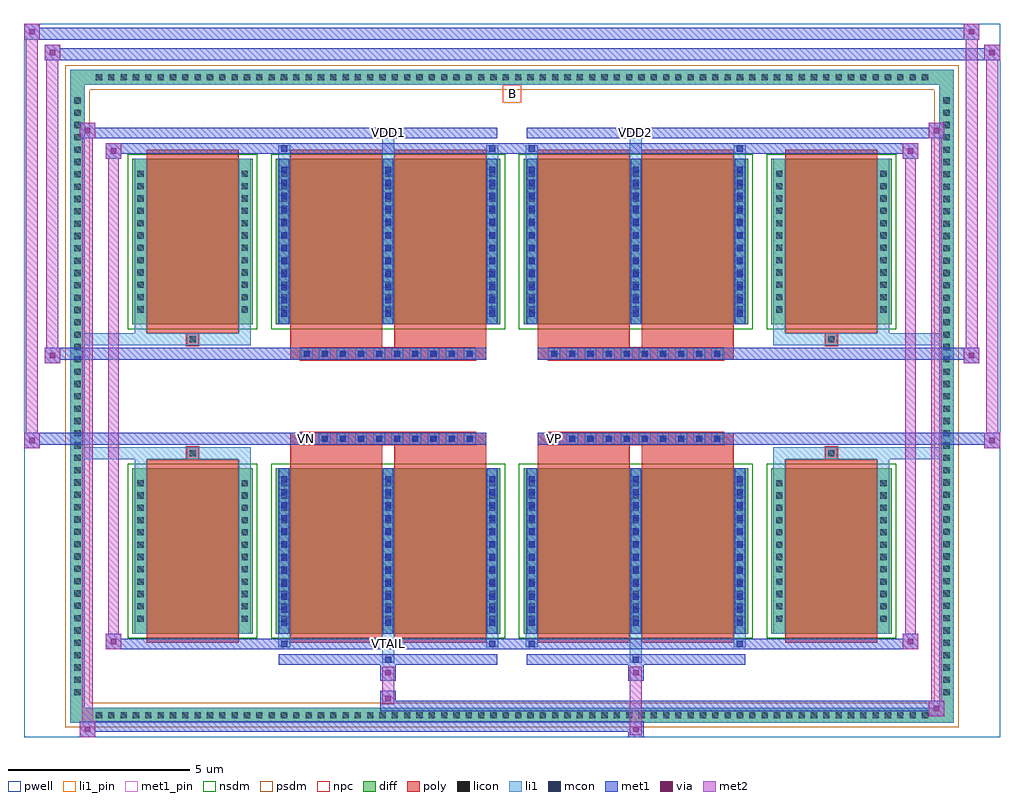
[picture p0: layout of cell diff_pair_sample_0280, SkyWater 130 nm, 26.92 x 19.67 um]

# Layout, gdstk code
import gdstk
lib = gdstk.Library(unit=1e-6, precision=5e-09)
def R(c, l, rs):  # rectangles x0, y0, x1, y1
    for r in rs: c.add(gdstk.rectangle(r[:2], r[2:], *l))
def A(c, l, x, y, w, h, nx, ny, dx, dy):  # array of equal rectangles
    R(c, l, [(x+i*dx, y+j*dy, x+i*dx+w, y+j*dy+h) for i in range(nx) for j in range(ny)])
def P(c, l, *ps):  # polygons
    for p in ps: c.add(gdstk.Polygon(p, *l))
pwell = (64, 44)
diff = (65, 20)
poly = (66, 20)
licon = (66, 44)
li1_pin = (67, 16)
li1 = (67, 20)
mcon = (67, 44)
met1_pin = (68, 16)
met1 = (68, 20)
via = (68, 44)
met2 = (69, 20)
nsdm = (93, 44)
psdm = (94, 20)
npc = (95, 20)

diff_pair_sample_0280 = lib.new_cell('diff_pair_sample_0280')
R(diff_pair_sample_0280, pwell, [(-13.46,-9.4,13.46,10.27), (-10.78,-7.59,-0.01,-0.805), (0.01,-7.59,10.78,-0.805), (-10.78,0.805,-0.01,7.59), (0.01,0.805,10.78,7.59)])
A(diff_pair_sample_0280, diff, -11.595, -9, 0.41, 0.41, 68, 2, 0.34, 17.59)
A(diff_pair_sample_0280, diff, -12.19, -8.365, 0.41, 0.41, 1, 49, 0, 0.34)
A(diff_pair_sample_0280, diff, 11.78, -8.365, 0.41, 0.41, 1, 49, 0, 0.34)
R(diff_pair_sample_0280, diff, [(-11.595,-9,11.595,-8.59), (-12.19,-8.365,-11.78,8.365), (11.78,-8.365,12.19,8.365), (-10.47,-6.545,-7.15,-1.985), (-6.51,-6.545,-0.32,-1.985), (0.32,-6.545,6.51,-1.985), (7.15,-6.545,10.47,-1.985), (-10.47,1.985,-7.15,6.545), (-6.51,1.985,-0.32,6.545), (0.32,1.985,6.51,6.545), (7.15,1.985,10.47,6.545), (-11.595,8.59,11.595,9)])
P(diff_pair_sample_0280, diff, [(12.19,9),(-12.19,9),(-12.19,-8.59),(-11.78,-8.59),(-11.78,8.59),(11.78,8.59),(11.78,-8.59),(-11.78,-8.59),(-12.19,-8.59),(-12.19,-9),(12.19,-9)])
A(diff_pair_sample_0280, poly, -5.83, -1.335, 0.33, 0.33, 10, 2, 0.5, 2.34)
A(diff_pair_sample_0280, poly, 1, -1.335, 0.33, 0.33, 10, 2, 0.5, 2.34)
R(diff_pair_sample_0280, poly, [(-10.08,-6.795,-7.54,-1.735), (-6.12,-6.795,-3.58,-1.735), (-3.25,-6.795,-0.71,-1.735), (0.71,-6.795,3.25,-1.735), (3.58,-6.795,6.12,-1.735), (7.54,-6.795,10.08,-1.735), (-8.975,-1.735,-8.645,-1.405), (-8.975,-1.735,-8.645,-1.405), (-6.12,-1.735,-3.58,-1.335), (-3.25,-1.735,-0.71,-1.335), (0.71,-1.735,3.25,-1.335), (3.58,-1.735,6.12,-1.335), (8.645,-1.735,8.975,-1.405), (8.645,-1.735,8.975,-1.405), (-6.12,-1.335,-0.71,-1.005), (0.71,-1.335,6.12,-1.005), (-6.12,1.005,-0.71,1.335), (0.71,1.005,6.12,1.335), (-6.12,1.335,-3.58,1.735), (-3.25,1.335,-0.71,1.735), (0.71,1.335,3.25,1.735), (3.58,1.335,6.12,1.735), (-8.975,1.405,-8.645,1.735), (-8.975,1.405,-8.645,1.735), (8.645,1.405,8.975,1.735), (8.645,1.405,8.975,1.735), (-10.08,1.735,-7.54,6.795), (-6.12,1.735,-3.58,6.795), (-3.25,1.735,-0.71,6.795), (0.71,1.735,3.25,6.795), (3.58,1.735,6.12,6.795), (7.54,1.735,10.08,6.795)])
A(diff_pair_sample_0280, licon, -11.475, -8.88, 0.17, 0.17, 68, 2, 0.34, 17.59)
A(diff_pair_sample_0280, licon, -12.07, -8.245, 0.17, 0.17, 1, 49, 0, 0.34)
A(diff_pair_sample_0280, licon, 11.9, -8.245, 0.17, 0.17, 1, 49, 0, 0.34)
A(diff_pair_sample_0280, licon, -10.33, -6.22, 0.17, 0.17, 1, 12, 0, 0.34)
A(diff_pair_sample_0280, licon, -7.46, -6.22, 0.17, 0.17, 1, 12, 0, 0.34)
A(diff_pair_sample_0280, licon, -6.37, -6.22, 0.17, 0.17, 3, 12, 2.87, 0.34)
A(diff_pair_sample_0280, licon, 0.46, -6.22, 0.17, 0.17, 3, 12, 2.87, 0.34)
A(diff_pair_sample_0280, licon, 7.29, -6.22, 0.17, 0.17, 1, 12, 0, 0.34)
A(diff_pair_sample_0280, licon, 10.16, -6.22, 0.17, 0.17, 1, 12, 0, 0.34)
A(diff_pair_sample_0280, licon, -5.75, -1.255, 0.17, 0.17, 10, 2, 0.5, 2.34)
A(diff_pair_sample_0280, licon, 1.08, -1.255, 0.17, 0.17, 10, 2, 0.5, 2.34)
A(diff_pair_sample_0280, licon, -10.33, 2.31, 0.17, 0.17, 1, 12, 0, 0.34)
A(diff_pair_sample_0280, licon, -7.46, 2.31, 0.17, 0.17, 1, 12, 0, 0.34)
A(diff_pair_sample_0280, licon, -6.37, 2.31, 0.17, 0.17, 3, 12, 2.87, 0.34)
A(diff_pair_sample_0280, licon, 0.46, 2.31, 0.17, 0.17, 3, 12, 2.87, 0.34)
A(diff_pair_sample_0280, licon, 7.29, 2.31, 0.17, 0.17, 1, 12, 0, 0.34)
A(diff_pair_sample_0280, licon, 10.16, 2.31, 0.17, 0.17, 1, 12, 0, 0.34)
R(diff_pair_sample_0280, licon, [(-8.895,-1.655,-8.725,-1.485), (8.725,-1.655,8.895,-1.485), (-8.895,1.485,-8.725,1.655), (8.725,1.485,8.895,1.655)])
R(diff_pair_sample_0280, li1_pin, [(-0.25,8.09,0.25,8.59)])
A(diff_pair_sample_0280, li1, -11.555, -8.96, 0.33, 0.33, 68, 2, 0.34, 17.59)
A(diff_pair_sample_0280, li1, -12.15, -8.325, 0.33, 0.33, 1, 49, 0, 0.34)
A(diff_pair_sample_0280, li1, 11.82, -8.325, 0.33, 0.33, 1, 49, 0, 0.34)
A(diff_pair_sample_0280, li1, -6.45, -6.545, 0.33, 4.56, 3, 2, 2.87, 8.53)
A(diff_pair_sample_0280, li1, 0.38, -6.545, 0.33, 4.56, 3, 2, 2.87, 8.53)
A(diff_pair_sample_0280, li1, -6.37, -6.33, 0.17, 0.17, 3, 12, 2.87, 0.36)
A(diff_pair_sample_0280, li1, -6.37, -6.33, 0.17, 4.13, 3, 2, 2.87, 8.53)
A(diff_pair_sample_0280, li1, 0.46, -6.33, 0.17, 0.17, 3, 12, 2.87, 0.36)
A(diff_pair_sample_0280, li1, 0.46, -6.33, 0.17, 4.13, 3, 2, 2.87, 8.53)
A(diff_pair_sample_0280, li1, -10.41, -6.3, 0.33, 0.33, 1, 12, 0, 0.34)
A(diff_pair_sample_0280, li1, -7.54, -6.3, 0.33, 0.33, 1, 12, 0, 0.34)
A(diff_pair_sample_0280, li1, -6.45, -6.3, 0.33, 0.33, 3, 12, 2.87, 0.34)
A(diff_pair_sample_0280, li1, 0.38, -6.3, 0.33, 0.33, 3, 12, 2.87, 0.34)
A(diff_pair_sample_0280, li1, 7.21, -6.3, 0.33, 0.33, 1, 12, 0, 0.34)
A(diff_pair_sample_0280, li1, 10.08, -6.3, 0.33, 0.33, 1, 12, 0, 0.34)
A(diff_pair_sample_0280, li1, -5.83, -1.335, 0.33, 0.33, 10, 2, 0.5, 2.34)
A(diff_pair_sample_0280, li1, 1, -1.335, 0.33, 0.33, 10, 2, 0.5, 2.34)
A(diff_pair_sample_0280, li1, -6.37, 2.2, 0.17, 0.17, 3, 12, 2.87, 0.36)
A(diff_pair_sample_0280, li1, 0.46, 2.2, 0.17, 0.17, 3, 12, 2.87, 0.36)
A(diff_pair_sample_0280, li1, -10.41, 2.23, 0.33, 0.33, 1, 12, 0, 0.34)
A(diff_pair_sample_0280, li1, -7.54, 2.23, 0.33, 0.33, 1, 12, 0, 0.34)
A(diff_pair_sample_0280, li1, -6.45, 2.23, 0.33, 0.33, 3, 12, 2.87, 0.34)
A(diff_pair_sample_0280, li1, 0.38, 2.23, 0.33, 0.33, 3, 12, 2.87, 0.34)
A(diff_pair_sample_0280, li1, 7.21, 2.23, 0.33, 0.33, 1, 12, 0, 0.34)
A(diff_pair_sample_0280, li1, 10.08, 2.23, 0.33, 0.33, 1, 12, 0, 0.34)
R(diff_pair_sample_0280, li1, [(-12.19,-9,-11.78,-8.59), (-12.19,-9,-11.78,-8.59), (-11.78,-9,11.78,-8.59), (11.78,-9,12.19,-8.59), (11.78,-9,12.19,-8.59), (-12.19,-8.59,-11.78,8.59), (11.78,-8.59,12.19,8.59), (-3.58,-7.35,-3.25,-6.545), (-3.5,-7.35,-3.33,-7.18), (3.25,-7.35,3.58,-6.545), (3.33,-7.35,3.5,-7.18), (-6.45,-6.92,-6.12,-6.545), (-6.37,-6.92,-6.2,-6.75), (-0.71,-6.92,-0.38,-6.545), (-0.63,-6.92,-0.46,-6.75), (0.38,-6.92,0.71,-6.545), (0.46,-6.92,0.63,-6.75), (6.12,-6.92,6.45,-6.545), (6.2,-6.92,6.37,-6.75), (-10.41,-6.545,-10.08,-1.985), (-7.54,-6.545,-7.21,-1.985), (7.21,-6.545,7.54,-1.985), (10.08,-6.545,10.41,-1.985), (-10.41,-1.985,-10.08,-1.405), (-7.54,-1.985,-7.21,-1.405), (7.21,-1.985,7.54,-1.405), (10.08,-1.985,10.41,-1.405), (-12.19,-1.735,-8.975,-1.405), (-10.41,-1.735,-8.975,-1.405), (-8.975,-1.735,-8.645,-1.405), (-8.645,-1.735,-7.21,-1.405), (7.21,-1.735,8.645,-1.405), (8.645,-1.735,8.975,-1.405), (8.645,-1.735,12.19,-1.405), (8.975,-1.735,10.41,-1.405), (-12.19,1.405,-8.975,1.735), (-10.41,1.405,-8.975,1.735), (-10.41,1.405,-10.08,1.985), (-8.975,1.405,-8.645,1.735), (-8.645,1.405,-7.21,1.735), (-7.54,1.405,-7.21,1.985), (7.21,1.405,8.645,1.735), (7.21,1.405,7.54,1.985), (8.645,1.405,8.975,1.735), (8.645,1.405,12.19,1.735), (8.975,1.405,10.41,1.735), (10.08,1.405,10.41,1.985), (-10.41,1.985,-10.08,6.545), (-7.54,1.985,-7.21,6.545), (7.21,1.985,7.54,6.545), (10.08,1.985,10.41,6.545), (-6.45,6.545,-6.12,6.92), (-3.58,6.545,-3.25,7.35), (-0.71,6.545,-0.38,6.92), (0.38,6.545,0.71,6.92), (3.25,6.545,3.58,7.35), (6.12,6.545,6.45,6.92), (-6.37,6.75,-6.2,6.92), (-0.63,6.75,-0.46,6.92), (0.46,6.75,0.63,6.92), (6.2,6.75,6.37,6.92), (-3.5,7.18,-3.33,7.35), (3.33,7.18,3.5,7.35), (-12.19,8.59,-11.78,9), (-12.19,8.59,-11.78,9), (-11.78,8.59,11.78,9), (11.78,8.59,12.19,9), (11.78,8.59,12.19,9)])
A(diff_pair_sample_0280, mcon, -6.37, -6.33, 0.17, 0.17, 3, 12, 2.87, 0.36)
A(diff_pair_sample_0280, mcon, 0.46, -6.33, 0.17, 0.17, 3, 12, 2.87, 0.36)
A(diff_pair_sample_0280, mcon, -5.75, -1.255, 0.17, 0.17, 10, 2, 0.5, 2.34)
A(diff_pair_sample_0280, mcon, 1.08, -1.255, 0.17, 0.17, 10, 2, 0.5, 2.34)
A(diff_pair_sample_0280, mcon, -6.37, 2.2, 0.17, 0.17, 3, 12, 2.87, 0.36)
A(diff_pair_sample_0280, mcon, 0.46, 2.2, 0.17, 0.17, 3, 12, 2.87, 0.36)
R(diff_pair_sample_0280, mcon, [(-3.5,-7.35,-3.33,-7.18), (3.33,-7.35,3.5,-7.18), (-6.37,-6.92,-6.2,-6.75), (-0.63,-6.92,-0.46,-6.75), (0.46,-6.92,0.63,-6.75), (6.2,-6.92,6.37,-6.75), (-6.37,6.75,-6.2,6.92), (-0.63,6.75,-0.46,6.92), (0.46,6.75,0.63,6.92), (6.2,6.75,6.37,6.92), (-3.5,7.18,-3.33,7.35), (3.33,7.18,3.5,7.35)])
R(diff_pair_sample_0280, met1_pin, [(-3.55,-6.96,-3.28,-6.69), (-5.8,-1.295,-5.53,-1.025), (1.03,-1.295,1.3,-1.025), (-3.55,7.14,-3.28,7.41), (3.28,7.14,3.55,7.41)])
A(diff_pair_sample_0280, met1, -6.43, -6.545, 0.29, 4.56, 3, 2, 2.87, 8.53)
A(diff_pair_sample_0280, met1, 0.4, -6.545, 0.29, 4.56, 3, 2, 2.87, 8.53)
A(diff_pair_sample_0280, met1, -6.43, -6.39, 0.29, 0.29, 3, 12, 2.87, 0.36)
A(diff_pair_sample_0280, met1, 0.4, -6.39, 0.29, 0.29, 3, 12, 2.87, 0.36)
A(diff_pair_sample_0280, met1, -5.81, -1.315, 0.29, 0.29, 10, 2, 0.5, 2.34)
A(diff_pair_sample_0280, met1, 1.02, -1.315, 0.29, 0.29, 10, 2, 0.5, 2.34)
A(diff_pair_sample_0280, met1, -6.43, 2.14, 0.29, 0.29, 3, 12, 2.87, 0.36)
A(diff_pair_sample_0280, met1, 0.4, 2.14, 0.29, 0.29, 3, 12, 2.87, 0.36)
R(diff_pair_sample_0280, met1, [(-11.92,-9.4,-11.49,-8.97), (3.2,-9.4,3.63,-8.97), (-11.92,-9.26,3.63,-8.97), (11.49,-8.83,11.92,-8.4), (-3.63,-8.69,11.92,-8.4), (-3.63,-8.55,-3.2,-8.12), (-3.63,-7.84,-3.2,-7.41), (3.2,-7.84,3.63,-7.41), (-6.43,-7.41,-0.4,-7.12), (-3.56,-7.41,-3.27,-7.12), (0.4,-7.41,6.43,-7.12), (3.27,-7.41,3.56,-7.12), (-11.21,-6.98,-10.78,-6.55), (-11.21,-6.98,-6.43,-6.69), (-6.43,-6.98,-6.14,-6.69), (-6.43,-6.98,-0.4,-6.69), (-0.69,-6.98,-0.4,-6.69), (-0.4,-6.98,0.4,-6.69), (0.4,-6.98,0.69,-6.69), (0.4,-6.98,6.43,-6.69), (6.14,-6.98,6.43,-6.69), (6.43,-6.98,11.21,-6.69), (10.78,-6.98,11.21,-6.55), (-13.46,-1.435,-13.03,-1.005), (13.03,-1.435,13.46,-1.005), (-13.46,-1.335,-0.71,-1.005), (-6.12,-1.335,-0.71,-1.005), (0.71,-1.335,6.12,-1.005), (0.71,-1.335,13.46,-1.005), (-12.89,0.905,-12.46,1.335), (12.46,0.905,12.89,1.335), (-12.89,1.005,-6.12,1.335), (-6.12,1.005,-0.71,1.335), (0.71,1.005,6.12,1.335), (6.12,1.005,12.89,1.335), (-11.21,6.55,-10.78,6.98), (10.78,6.55,11.21,6.98), (-11.21,6.69,-6.43,6.98), (-6.43,6.69,-6.14,6.98), (-6.43,6.69,-0.4,6.98), (-0.69,6.69,-0.4,6.98), (-0.4,6.69,0.4,6.98), (0.4,6.69,0.69,6.98), (0.4,6.69,6.43,6.98), (6.14,6.69,6.43,6.98), (6.43,6.69,11.21,6.98), (-11.92,7.12,-11.49,7.55), (-11.92,7.12,-6.43,7.41), (-6.43,7.12,-0.4,7.41), (-3.56,7.12,-3.27,7.41), (0.4,7.12,6.43,7.41), (3.27,7.12,3.56,7.41), (6.43,7.12,11.92,7.41), (11.49,7.12,11.92,7.55), (-12.89,9.27,-12.46,9.7), (-12.89,9.27,-10.78,9.6), (-10.78,9.27,10.78,9.6), (10.78,9.27,13.46,9.6), (13.03,9.27,13.46,9.7), (-13.46,9.84,-13.03,10.27), (-13.46,9.84,-10.78,10.17), (-10.78,9.84,10.78,10.17), (10.78,9.84,12.89,10.17), (12.46,9.84,12.89,10.27)])
R(diff_pair_sample_0280, via, [(-11.78,-9.26,-11.63,-9.11), (3.34,-9.26,3.49,-9.11), (11.63,-8.69,11.78,-8.54), (-3.49,-8.41,-3.34,-8.26), (-3.49,-7.7,-3.34,-7.55), (3.34,-7.7,3.49,-7.55), (-11.07,-6.84,-10.92,-6.69), (10.92,-6.84,11.07,-6.69), (-13.32,-1.295,-13.17,-1.145), (13.17,-1.295,13.32,-1.145), (-12.75,1.045,-12.6,1.195), (12.6,1.045,12.75,1.195), (-11.07,6.69,-10.92,6.84), (10.92,6.69,11.07,6.84), (-11.78,7.26,-11.63,7.41), (11.63,7.26,11.78,7.41), (-12.75,9.41,-12.6,9.56), (13.17,9.41,13.32,9.56), (-13.32,9.98,-13.17,10.13), (12.6,9.98,12.75,10.13)])
R(diff_pair_sample_0280, met2, [(-11.92,-9.4,-11.49,-8.97), (-11.85,-9.4,-11.56,7.55), (-11.56,-9.4,-11.49,-8.97), (-11.87,-9.35,-11.54,-9.02), (3.25,-9.35,3.58,-9.02), (3.25,-9.02,3.58,-7.79), (11.49,-8.83,11.92,-8.4), (11.56,-8.83,11.85,7.55), (11.85,-8.83,11.92,-8.4), (11.54,-8.78,11.87,-8.45), (-3.58,-8.5,-3.25,-8.17), (-3.58,-8.17,-3.25,-7.79), (-3.58,-7.79,-3.25,-7.46), (3.25,-7.79,3.58,-7.46), (-11.21,-6.98,-10.78,-6.55), (-11.14,-6.98,-10.85,6.98), (-10.85,-6.98,-10.78,-6.55), (10.78,-6.98,11.21,-6.55), (10.85,-6.98,11.14,6.98), (11.14,-6.98,11.21,-6.55), (-11.16,-6.93,-10.83,-6.6), (10.83,-6.93,11.16,-6.6), (-13.46,-1.435,-13.03,-1.005), (-13.41,-1.435,-13.08,10.27), (-13.08,-1.435,-13.03,-1.005), (13.03,-1.435,13.46,-1.005), (13.08,-1.435,13.41,9.7), (13.41,-1.435,13.46,-1.005), (-13.41,-1.385,-13.08,-1.055), (13.08,-1.385,13.41,-1.055), (-12.89,0.905,-12.46,1.335), (-12.84,0.905,-12.51,9.7), (-12.51,0.905,-12.46,1.335), (12.46,0.905,12.89,1.335), (12.51,0.905,12.84,10.27), (12.84,0.905,12.89,1.335), (-12.84,0.955,-12.51,1.285), (12.51,0.955,12.84,1.285), (-11.21,6.55,-10.78,6.98), (-10.85,6.55,-10.78,6.98), (10.78,6.55,11.21,6.98), (11.14,6.55,11.21,6.98), (-11.16,6.6,-10.83,6.93), (10.83,6.6,11.16,6.93), (-11.92,7.12,-11.49,7.55), (-11.56,7.12,-11.49,7.55), (11.49,7.12,11.92,7.55), (11.85,7.12,11.92,7.55), (-11.87,7.17,-11.54,7.5), (11.54,7.17,11.87,7.5), (-12.89,9.27,-12.46,9.7), (-12.51,9.27,-12.46,9.7), (13.03,9.27,13.46,9.7), (13.41,9.27,13.46,9.7), (-12.84,9.32,-12.51,9.65), (13.08,9.32,13.41,9.65), (-13.46,9.84,-13.03,10.27), (-13.08,9.84,-13.03,10.27), (12.46,9.84,12.89,10.27), (12.84,9.84,12.89,10.27), (-13.41,9.89,-13.08,10.22), (12.51,9.89,12.84,10.22)])
R(diff_pair_sample_0280, nsdm, [(-10.6,-6.675,-7.02,-1.855), (-6.64,-6.675,-0.19,-1.855), (0.19,-6.675,6.64,-1.855), (7.02,-6.675,10.6,-1.855), (-10.6,1.855,-7.02,6.675), (-6.64,1.855,-0.19,6.675), (0.19,1.855,6.64,6.675), (7.02,1.855,10.6,6.675)])
P(diff_pair_sample_0280, psdm, [(12.32,9.13),(-12.32,9.13),(-12.32,-8.46),(-11.65,-8.46),(-11.65,8.46),(11.65,8.46),(11.65,-8.46),(-11.65,-8.46),(-12.32,-8.46),(-12.32,-9.13),(12.32,-9.13)])
A(diff_pair_sample_0280, npc, -5.85, -1.355, 0.37, 0.37, 10, 2, 0.5, 2.34)
A(diff_pair_sample_0280, npc, 0.98, -1.355, 0.37, 0.37, 10, 2, 0.5, 2.34)
R(diff_pair_sample_0280, npc, [(-8.995,-1.755,-8.625,-1.385), (8.625,-1.755,8.995,-1.385), (-5.85,-1.355,-4.98,-0.985), (-5.85,-1.355,-4.98,-0.985), (-5.35,-1.355,-4.48,-0.985), (-5.35,-1.355,-4.48,-0.985), (-4.85,-1.355,-3.98,-0.985), (-4.85,-1.355,-3.98,-0.985), (-4.35,-1.355,-3.48,-0.985), (-4.35,-1.355,-3.48,-0.985), (-3.85,-1.355,-2.98,-0.985), (-3.85,-1.355,-2.98,-0.985), (-3.35,-1.355,-2.48,-0.985), (-3.35,-1.355,-2.48,-0.985), (-2.85,-1.355,-1.98,-0.985), (-2.85,-1.355,-1.98,-0.985), (-2.35,-1.355,-1.48,-0.985), (-2.35,-1.355,-1.48,-0.985), (-1.85,-1.355,-0.98,-0.985), (-1.85,-1.355,-0.98,-0.985), (0.98,-1.355,1.85,-0.985), (0.98,-1.355,1.85,-0.985), (1.48,-1.355,2.35,-0.985), (1.48,-1.355,2.35,-0.985), (1.98,-1.355,2.85,-0.985), (1.98,-1.355,2.85,-0.985), (2.48,-1.355,3.35,-0.985), (2.48,-1.355,3.35,-0.985), (2.98,-1.355,3.85,-0.985), (2.98,-1.355,3.85,-0.985), (3.48,-1.355,4.35,-0.985), (3.48,-1.355,4.35,-0.985), (3.98,-1.355,4.85,-0.985), (3.98,-1.355,4.85,-0.985), (4.48,-1.355,5.35,-0.985), (4.48,-1.355,5.35,-0.985), (4.98,-1.355,5.85,-0.985), (4.98,-1.355,5.85,-0.985), (-5.85,0.985,-4.98,1.355), (-5.85,0.985,-4.98,1.355), (-5.35,0.985,-4.48,1.355), (-5.35,0.985,-4.48,1.355), (-4.85,0.985,-3.98,1.355), (-4.85,0.985,-3.98,1.355), (-4.35,0.985,-3.48,1.355), (-4.35,0.985,-3.48,1.355), (-3.85,0.985,-2.98,1.355), (-3.85,0.985,-2.98,1.355), (-3.35,0.985,-2.48,1.355), (-3.35,0.985,-2.48,1.355), (-2.85,0.985,-1.98,1.355), (-2.85,0.985,-1.98,1.355), (-2.35,0.985,-1.48,1.355), (-2.35,0.985,-1.48,1.355), (-1.85,0.985,-0.98,1.355), (-1.85,0.985,-0.98,1.355), (0.98,0.985,1.85,1.355), (0.98,0.985,1.85,1.355), (1.48,0.985,2.35,1.355), (1.48,0.985,2.35,1.355), (1.98,0.985,2.85,1.355), (1.98,0.985,2.85,1.355), (2.48,0.985,3.35,1.355), (2.48,0.985,3.35,1.355), (2.98,0.985,3.85,1.355), (2.98,0.985,3.85,1.355), (3.48,0.985,4.35,1.355), (3.48,0.985,4.35,1.355), (3.98,0.985,4.85,1.355), (3.98,0.985,4.85,1.355), (4.48,0.985,5.35,1.355), (4.48,0.985,5.35,1.355), (4.98,0.985,5.85,1.355), (4.98,0.985,5.85,1.355), (-8.995,1.385,-8.625,1.755), (8.625,1.385,8.995,1.755)])
diff_pair_sample_0280.add(gdstk.Label('VTAIL', (-3.415,-6.825), layer=68, texttype=5))
diff_pair_sample_0280.add(gdstk.Label('VN', (-5.665,-1.16), layer=68, texttype=5))
diff_pair_sample_0280.add(gdstk.Label('VP', (1.165,-1.16), layer=68, texttype=5))
diff_pair_sample_0280.add(gdstk.Label('B', (0,8.34), layer=67, texttype=5))
diff_pair_sample_0280.add(gdstk.Label('VDD2', (3.415,7.275), layer=68, texttype=5))
diff_pair_sample_0280.add(gdstk.Label('VDD1', (-3.415,7.275), layer=68, texttype=5))

lib.write_gds('diff_pair_sample_0280.gds')
